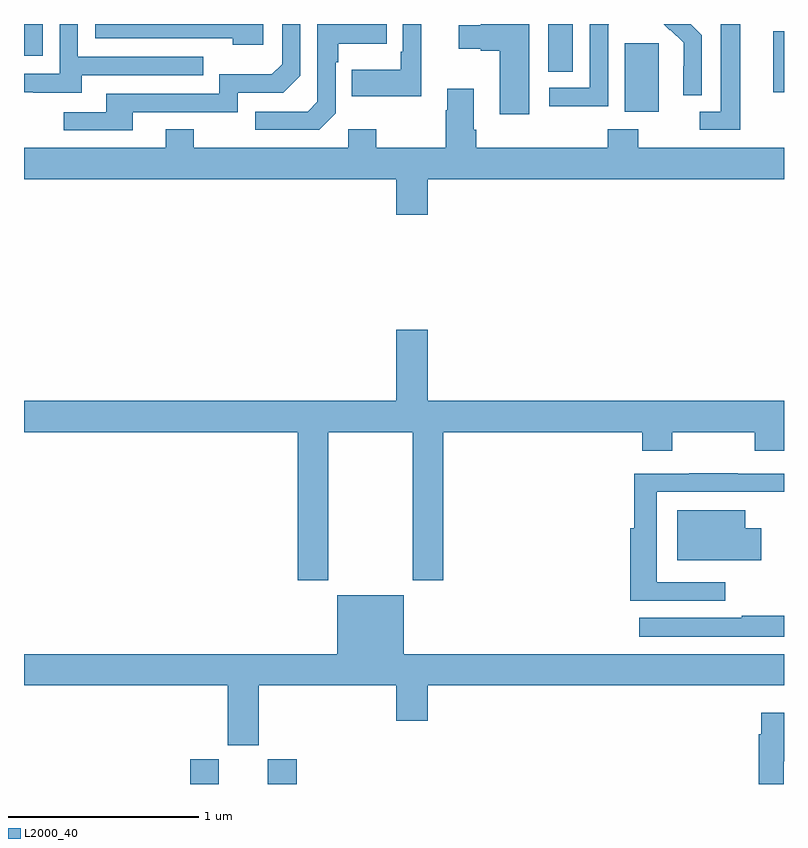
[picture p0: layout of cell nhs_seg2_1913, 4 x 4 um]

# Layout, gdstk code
import gdstk
lib = gdstk.Library(unit=1e-6, precision=1e-09)
def R(c, l, rs):  # rectangles x0, y0, x1, y1
    for r in rs: c.add(gdstk.rectangle(r[:2], r[2:], *l))
def P(c, l, *ps):  # polygons
    for p in ps: c.add(gdstk.Polygon(p, *l))
L2000_40 = (2000, 40)

nhs_seg2_1913 = lib.new_cell('nhs_seg2_1913')
R(nhs_seg2_1913, L2000_40, [(211.874,629.8,212.026,629.931), (212.282,629.8,212.435,629.931), (214.163,633.338,214.342,633.699), (214.943,633.441,215,633.761), (213.758,633.55,213.889,633.8)])
P(nhs_seg2_1913, L2000_40, [(212.26,633.8),(211.374,633.8),(211.374,633.726),(212.099,633.726),(212.099,633.692),(212.26,633.692)],
  [(211.098,633.8),(211,633.8),(211,633.79),(211.001,633.789),(211.001,633.633),(211.098,633.633)],
  [(214.566,633.742),(214.508,633.8),(214.366,633.8),(214.398,633.768),(214.401,633.771),(214.472,633.701),(214.472,633.578),(214.47,633.578),(214.47,633.424),(214.566,633.424)],
  [(214.074,633.796),(214.077,633.796),(214.077,633.8),(213.978,633.8),(213.978,633.465),(213.765,633.465),(213.765,633.367),(214.074,633.367)],
  [(213.658,633.8),(213.404,633.8),(213.404,633.793),(213.288,633.793),(213.288,633.671),(213.404,633.671),(213.404,633.659),(213.503,633.659),(213.503,633.324),(213.658,633.324)],
  [(214.771,633.8),(214.667,633.8),(214.667,633.339),(214.557,633.339),(214.557,633.243),(214.771,633.243)],
  [(211.573,633.336),(212.124,633.336),(212.124,633.438),(212.364,633.438),(212.454,633.528),(212.454,633.8),(212.358,633.8),(212.358,633.588),(212.305,633.535),(212.028,633.535),(212.028,633.432),(211.433,633.432),(211.433,633.336),(211.209,633.336),(211.209,633.24),(211.573,633.24)],
  [(213.092,633.8),(212.994,633.8),(212.994,633.655),(212.982,633.655),(212.982,633.559),(212.725,633.559),(212.725,633.419),(213.092,633.419)],
  [(211.303,633.531),(211.943,633.531),(211.943,633.627),(211.284,633.627),(211.284,633.8),(211.188,633.8),(211.188,633.537),(211,633.537),(211,633.441),(211.049,633.441),(211.049,633.437),(211.303,633.437)],
  [(212.64,633.33),(212.64,633.599),(212.653,633.599),(212.653,633.695),(212.909,633.695),(212.909,633.8),(212.544,633.8),(212.544,633.39),(212.493,633.339),(212.217,633.339),(212.217,633.243),(212.553,633.243)],
  [(211.745,633.247),(211.745,633.148),(211,633.148),(211,632.984),(212.96,632.984),(212.96,632.796),(213.124,632.796),(213.124,632.984),(215,632.984),(215,633.148),(214.233,633.148),(214.233,633.247),(214.073,633.247),(214.073,633.148),(213.38,633.148),(213.38,633.244),(213.367,633.244),(213.367,633.46),(213.227,633.46),(213.227,633.347),(213.22,633.347),(213.22,633.148),(212.853,633.148),(212.853,633.247),(212.706,633.247),(212.706,633.148),(211.893,633.148),(211.893,633.247)],
  [(212.601,631.652),(213.046,631.652),(213.046,630.873),(213.206,630.873),(213.206,631.652),(214.253,631.652),(214.253,631.553),(214.413,631.553),(214.413,631.652),(214.846,631.652),(214.846,631.553),(215,631.553),(215,631.816),(213.124,631.816),(213.124,632.191),(212.96,632.191),(212.96,631.816),(211,631.816),(211,631.652),(212.441,631.652),(212.441,630.873),(212.601,630.873)],
  [(214.69,630.861),(214.329,630.861),(214.329,631.338),(215,631.338),(215,631.434),(214.757,631.434),(214.757,631.436),(214.501,631.436),(214.501,631.434),(214.213,631.434),(214.213,631.147),(214.19,631.147),(214.19,630.765),(214.69,630.765)],
  [(214.879,631.147),(214.795,631.147),(214.795,631.24),(214.439,631.24),(214.439,630.977),(214.879,630.977)],
  [(212.236,630.32),(212.96,630.32),(212.96,630.132),(213.124,630.132),(213.124,630.32),(215,630.32),(215,630.484),(212.998,630.484),(212.998,630.793),(212.648,630.793),(212.648,630.484),(211,630.484),(211,630.32),(212.072,630.32),(212.072,630.003),(212.236,630.003)],
  [(215,630.686),(214.777,630.686),(214.777,630.676),(214.239,630.676),(214.239,630.575),(215,630.575)],
  [(214.999,629.919),(215,629.919),(215,630.175),(214.88,630.175),(214.88,630.062),(214.868,630.062),(214.868,629.8),(214.999,629.8)])

lib.write_gds('nhs_seg2_1913.gds')
